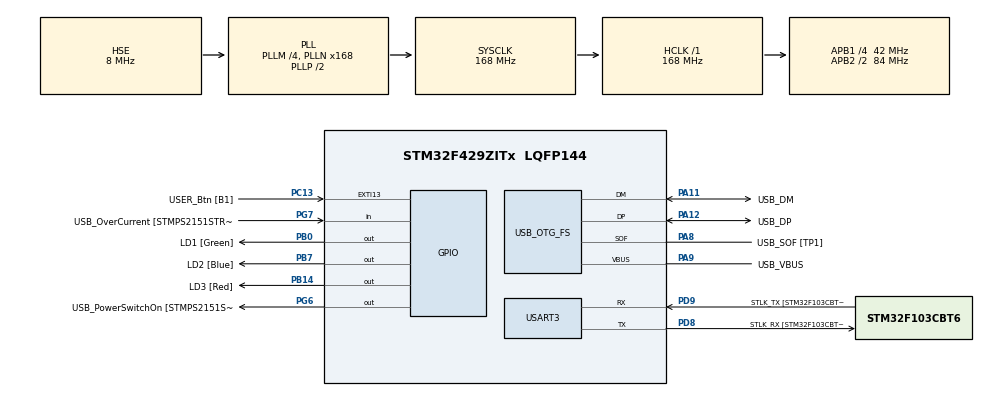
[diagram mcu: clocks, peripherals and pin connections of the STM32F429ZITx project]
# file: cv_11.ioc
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Mcu.Family=STM32F4
Mcu.Name=STM32F429ZITx
Mcu.Package=LQFP144
NVIC.OTG_FS_IRQn=true\:0\:0\:false\:false\:true\:false\:true\:true
NVIC.PriorityGroup=NVIC_PRIORITYGROUP_4
PA1.GPIO_Label=RMII_REF_CLK [LAN8742A-CZ-TR_REFCLK0]
PA1.Signal=ETH_REF_CLK
PA10.GPIO_Label=USB_ID
PA10.Signal=USB_OTG_FS_ID
PA11.GPIO_Label=USB_DM
PA11.Mode=Device_Only
PA11.Signal=USB_OTG_FS_DM
PA12.GPIO_Label=USB_DP
PA12.Mode=Device_Only
PA12.Signal=USB_OTG_FS_DP
PA13.GPIO_Label=TMS
PA13.Mode=Serial_Wire
PA13.Signal=SYS_JTMS-SWDIO
PA14.GPIO_Label=TCK
PA14.Mode=Serial_Wire
PA14.Signal=SYS_JTCK-SWCLK
PA2.GPIO_Label=RMII_MDIO [LAN8742A-CZ-TR_MDIO]
PA2.Signal=ETH_MDIO
PA7.GPIO_Label=RMII_CRS_DV [LAN8742A-CZ-TR_CRS_DV]
PA7.Signal=ETH_CRS_DV
PA8.GPIO_Label=USB_SOF [TP1]
PA8.Mode=Activate_SOF_FS
PA8.Signal=USB_OTG_FS_SOF
PA9.GPIO_Label=USB_VBUS
PA9.Mode=Activate_VBUS
PA9.Signal=USB_OTG_FS_VBUS
PB0.GPIO_Label=LD1 [Green]
PB0.Signal=GPIO_Output
PB13.GPIO_Label=RMII_TXD1 [LAN8742A-CZ-TR_TXD1]
PB13.Signal=ETH_TXD1
PB14.GPIO_Label=LD3 [Red]
PB14.Signal=GPIO_Output
PB7.GPIO_Label=LD2 [Blue]
PB7.Signal=GPIO_Output
PC1.GPIO_Label=RMII_MDC [LAN8742A-CZ-TR_MDC]
PC1.Signal=ETH_MDC
PC13.GPIO_Label=USER_Btn [B1]
PC13.Signal=GPXTI13
PC14/OSC32_IN.Mode=LSE-External-Oscillator
PC14/OSC32_IN.Signal=RCC_OSC32_IN
PC15/OSC32_OUT.Mode=LSE-External-Oscillator
PC15/OSC32_OUT.Signal=RCC_OSC32_OUT
PC4.GPIO_Label=RMII_RXD0 [LAN8742A-CZ-TR_RXD0]
PC4.Signal=ETH_RXD0
PC5.GPIO_Label=RMII_RXD1 [LAN8742A-CZ-TR_RXD1]
PC5.Signal=ETH_RXD1
PD8.GPIO_Label=STLK_RX [STM32F103CBT6_PA3]
PD8.Mode=Asynchronous
PD8.Signal=USART3_TX
PD9.GPIO_Label=STLK_TX [STM32F103CBT6_PA2]
PD9.Mode=Asynchronous
PD9.Signal=USART3_RX
PG11.GPIO_Label=RMII_TX_EN [LAN8742A-CZ-TR_TXEN]
PG11.Signal=ETH_TX_EN
PG13.GPIO_Label=RMII_TXD0 [LAN8742A-CZ-TR_TXD0]
PG13.Signal=ETH_TXD0
PG6.GPIO_Label=USB_PowerSwitchOn [STMPS2151STR_EN]
PG6.Signal=GPIO_Output
PG7.GPIO_Label=USB_OverCurrent [STMPS2151STR_FAULT]
PG7.Signal=GPIO_Input
PH0/OSC_IN.GPIO_Label=MCO [STM32F103CBT6_PA8]
PH0/OSC_IN.Mode=HSE-External-Clock-Source
PH0/OSC_IN.Signal=RCC_OSC_IN
PH1/OSC_OUT.Mode=HSE-External-Clock-Source
PH1/OSC_OUT.Signal=RCC_OSC_OUT
ProjectManager.HeapSize=0x200
ProjectManager.StackSize=0x400
ProjectManager.TargetToolchain=STM32CubeIDE
RCC.48MHZClocksFreq_Value=48000000
RCC.AHBFreq_Value=168000000
RCC.APB1CLKDivider=RCC_HCLK_DIV4
RCC.APB1Freq_Value=42000000
RCC.APB1TimFreq_Value=84000000
RCC.APB2CLKDivider=RCC_HCLK_DIV2
RCC.APB2Freq_Value=84000000
RCC.APB2TimCLKDivider=2
RCC.APB2TimFreq_Value=168000000
RCC.CortexFreq_Value=168000000
RCC.HCLKFreq_Value=168000000
RCC.HSE_VALUE=8000000
RCC.HSI_VALUE=16000000
RCC.PLLM=4
RCC.PLLMUL=RCC_PLL_MUL9
RCC.PLLN=168
RCC.PLLQ=7
RCC.PRESCALERUSB=RCC_USBCLKSOURCE_PLL_DIV1_5
RCC.SYSCLKFreq_VALUE=168000000
RCC.SYSCLKSource=RCC_SYSCLKSOURCE_PLLCLK
RCC.SYSCLKSourceVirtual=RCC_SYSCLKSOURCE_PLLCLK
RCC.USBFreq_Value=48000000
RCC.VCOOutputFreq_Value=336000000
USART3.VirtualMode=VM_ASYNC
USB_DEVICE.CLASS_NAME_FS=HID
USB_DEVICE.VirtualMode-HID_FS=Hid
USB_DEVICE.VirtualModeFS=Hid_FS
USB_OTG_FS.VirtualMode=Device_Only
VP_USB_DEVICE_VS_USB_DEVICE_HID_FS.Mode=HID_FS
board=NUCLEO-F429ZI

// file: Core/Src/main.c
/* USER CODE BEGIN Header */
/**
  ******************************************************************************
  * @file           : main.c
  * @brief          : Main program body
  ******************************************************************************
  * @attention
  *
  * Copyright (c) 2022 STMicroelectronics.
  * All rights reserved.
  *
  * This software is licensed under terms that can be found in the LICENSE file
  * in the root directory of this software component.
  * If no LICENSE file comes with this software, it is provided AS-IS.
  *
  ******************************************************************************
  */
/* USER CODE END Header */
#include "main.h"
#include "usb_device.h"

/* USER CODE BEGIN Includes */

#include "usbd_hid.h"
#include <math.h>

/* USER CODE END Includes */

/* USER CODE BEGIN PD */

#define pi 3.14159265358
#define move_cursor_steps 10

/* USER CODE END PD */

UART_HandleTypeDef huart3;

/* USER CODE BEGIN PV */

extern USBD_HandleTypeDef hUsbDeviceFS;

/* USER CODE END PV */

void SystemClock_Config(void);
static void MX_GPIO_Init(void);
static void MX_USART3_UART_Init(void);
/* USER CODE BEGIN PFP */

void moveCursor(uint8_t left_button_pressed, int8_t x_pos, int8_t y_pos, int8_t scroll)
{
	uint8_t buff[4];
	buff[0] = left_button_pressed; // stiskni leve tlacitko
	/*buff[1] = (int8_t)(10); // posun X +10
	buff[2] = (int8_t)(-3); // posun Y -3*/
	buff[1] = x_pos; // posun X +10
	buff[2] = y_pos; // posun Y -3
	buff[3] = scroll; // bez scrollu
	USBD_HID_SendReport(&hUsbDeviceFS, buff, sizeof(buff));
	HAL_Delay(USBD_HID_GetPollingInterval(&hUsbDeviceFS));
}

void drawCircle(uint8_t radius, uint8_t num_steps, uint8_t mouth)
{
	static float xp = 0;
	static float yp = 0;
	static float x = 0;
	static float y = 0;
	static float phi_step = 0;
	static uint16_t counter = 0;

	if(mouth) counter = num_steps/2;
	else counter = num_steps;
	for(uint16_t i = 1; i < counter + 2; i++)
	{
		phi_step = 2 * pi * (i - 1) / num_steps;
		x = radius * cos(phi_step);
		y = radius * sin(phi_step);
		moveCursor(1, x - xp, y - yp, 0);
		yp = y;
		xp = x;
		HAL_Delay(10);
	}
	xp = 0;
	yp = 0;
	moveCursor(0, 0, 0, 0);
}

void drawSmile(uint8_t radius, uint8_t num_steps)
{
	drawCircle(radius, num_steps, 0);

	moveCursor(0, -radius, -3*radius/5, 0);
	HAL_Delay(100);
	moveCursor(0, -radius/3, 0, 0);
	HAL_Delay(100);
	drawCircle(radius/10, 20, 0);

	moveCursor(0, radius/2, 0, 0);
	HAL_Delay(100);
	drawCircle(radius/10, 20, 0);

	moveCursor(1, -radius/4 - radius/20, 0, 0);
	HAL_Delay(100);
	moveCursor(0, 0, radius/3 , 0);
	HAL_Delay(100);

	moveCursor(0, radius/3, radius/5, 0);
	HAL_Delay(100);
	drawCircle(radius/2, num_steps, 1);
}

/* USER CODE END PFP */

int main(void)
{

  /* MCU Configuration--------------------------------------------------------*/

  /* Reset of all peripherals, Initializes the Flash interface and the Systick. */
  HAL_Init();

  /* Configure the system clock */
  SystemClock_Config();

  /* Initialize all configured peripherals */
  MX_GPIO_Init();
  MX_USART3_UART_Init();
  MX_USB_DEVICE_Init();

  /* Infinite loop */
  /* USER CODE BEGIN WHILE */
  while (1)
  {

	  if(HAL_GPIO_ReadPin(USER_Btn_GPIO_Port, USER_Btn_Pin))
	  {
		  drawSmile(100, 36);
	  }

	/* USER CODE END WHILE */

  }
}

void SystemClock_Config(void)
{
  RCC_OscInitTypeDef RCC_OscInitStruct = {0};
  RCC_ClkInitTypeDef RCC_ClkInitStruct = {0};

  /** Configure the main internal regulator output voltage
  */
  __HAL_RCC_PWR_CLK_ENABLE();
  __HAL_PWR_VOLTAGESCALING_CONFIG(PWR_REGULATOR_VOLTAGE_SCALE1);

  /** Initializes the RCC Oscillators according to the specified parameters
  * in the RCC_OscInitTypeDef structure.
  */
  RCC_OscInitStruct.OscillatorType = RCC_OSCILLATORTYPE_HSE;
  RCC_OscInitStruct.HSEState = RCC_HSE_BYPASS;
  RCC_OscInitStruct.PLL.PLLState = RCC_PLL_ON;
  RCC_OscInitStruct.PLL.PLLSource = RCC_PLLSOURCE_HSE;
  RCC_OscInitStruct.PLL.PLLM = 4;
  RCC_OscInitStruct.PLL.PLLN = 168;
  RCC_OscInitStruct.PLL.PLLP = RCC_PLLP_DIV2;
  RCC_OscInitStruct.PLL.PLLQ = 7;
  if (HAL_RCC_OscConfig(&RCC_OscInitStruct) != HAL_OK)
  {
    Error_Handler();
  }

  /** Initializes the CPU, AHB and APB buses clocks
  */
  RCC_ClkInitStruct.ClockType = RCC_CLOCKTYPE_HCLK|RCC_CLOCKTYPE_SYSCLK
                              |RCC_CLOCKTYPE_PCLK1|RCC_CLOCKTYPE_PCLK2;
  RCC_ClkInitStruct.SYSCLKSource = RCC_SYSCLKSOURCE_PLLCLK;
  RCC_ClkInitStruct.AHBCLKDivider = RCC_SYSCLK_DIV1;
  RCC_ClkInitStruct.APB1CLKDivider = RCC_HCLK_DIV4;
  RCC_ClkInitStruct.APB2CLKDivider = RCC_HCLK_DIV2;

  if (HAL_RCC_ClockConfig(&RCC_ClkInitStruct, FLASH_LATENCY_5) != HAL_OK)
  {
    Error_Handler();
  }
}

static void MX_USART3_UART_Init(void)
{

  huart3.Instance = USART3;
  huart3.Init.BaudRate = 115200;
  huart3.Init.WordLength = UART_WORDLENGTH_8B;
  huart3.Init.StopBits = UART_STOPBITS_1;
  huart3.Init.Parity = UART_PARITY_NONE;
  huart3.Init.Mode = UART_MODE_TX_RX;
  huart3.Init.HwFlowCtl = UART_HWCONTROL_NONE;
  huart3.Init.OverSampling = UART_OVERSAMPLING_16;
  if (HAL_UART_Init(&huart3) != HAL_OK)
  {
    Error_Handler();
  }

}

static void MX_GPIO_Init(void)
{
  GPIO_InitTypeDef GPIO_InitStruct = {0};

  /* GPIO Ports Clock Enable */
  __HAL_RCC_GPIOC_CLK_ENABLE();
  __HAL_RCC_GPIOH_CLK_ENABLE();
  __HAL_RCC_GPIOA_CLK_ENABLE();
  __HAL_RCC_GPIOB_CLK_ENABLE();
  __HAL_RCC_GPIOD_CLK_ENABLE();
  __HAL_RCC_GPIOG_CLK_ENABLE();

  /*Configure GPIO pin Output Level */
  HAL_GPIO_WritePin(GPIOB, LD1_Pin|LD3_Pin|LD2_Pin, GPIO_PIN_RESET);

  /*Configure GPIO pin Output Level */
  HAL_GPIO_WritePin(USB_PowerSwitchOn_GPIO_Port, USB_PowerSwitchOn_Pin, GPIO_PIN_RESET);

  /*Configure GPIO pin : USER_Btn_Pin */
  GPIO_InitStruct.Pin = USER_Btn_Pin;
  GPIO_InitStruct.Mode = GPIO_MODE_IT_RISING;
  GPIO_InitStruct.Pull = GPIO_NOPULL;
  HAL_GPIO_Init(USER_Btn_GPIO_Port, &GPIO_InitStruct);

  /*Configure GPIO pins : RMII_MDC_Pin RMII_RXD0_Pin RMII_RXD1_Pin */
  GPIO_InitStruct.Pin = RMII_MDC_Pin|RMII_RXD0_Pin|RMII_RXD1_Pin;
  GPIO_InitStruct.Mode = GPIO_MODE_AF_PP;
  GPIO_InitStruct.Pull = GPIO_NOPULL;
  GPIO_InitStruct.Speed = GPIO_SPEED_FREQ_VERY_HIGH;
  GPIO_InitStruct.Alternate = GPIO_AF11_ETH;
  HAL_GPIO_Init(GPIOC, &GPIO_InitStruct);

  /*Configure GPIO pins : RMII_REF_CLK_Pin RMII_MDIO_Pin RMII_CRS_DV_Pin */
  GPIO_InitStruct.Pin = RMII_REF_CLK_Pin|RMII_MDIO_Pin|RMII_CRS_DV_Pin;
  GPIO_InitStruct.Mode = GPIO_MODE_AF_PP;
  GPIO_InitStruct.Pull = GPIO_NOPULL;
  GPIO_InitStruct.Speed = GPIO_SPEED_FREQ_VERY_HIGH;
  GPIO_InitStruct.Alternate = GPIO_AF11_ETH;
  HAL_GPIO_Init(GPIOA, &GPIO_InitStruct);

  /*Configure GPIO pins : LD1_Pin LD3_Pin LD2_Pin */
  GPIO_InitStruct.Pin = LD1_Pin|LD3_Pin|LD2_Pin;
  GPIO_InitStruct.Mode = GPIO_MODE_OUTPUT_PP;
  GPIO_InitStruct.Pull = GPIO_NOPULL;
  GPIO_InitStruct.Speed = GPIO_SPEED_FREQ_LOW;
  HAL_GPIO_Init(GPIOB, &GPIO_InitStruct);

  /*Configure GPIO pin : RMII_TXD1_Pin */
  GPIO_InitStruct.Pin = RMII_TXD1_Pin;
  GPIO_InitStruct.Mode = GPIO_MODE_AF_PP;
  GPIO_InitStruct.Pull = GPIO_NOPULL;
  GPIO_InitStruct.Speed = GPIO_SPEED_FREQ_VERY_HIGH;
  GPIO_InitStruct.Alternate = GPIO_AF11_ETH;
  HAL_GPIO_Init(RMII_TXD1_GPIO_Port, &GPIO_InitStruct);

  /*Configure GPIO pin : USB_PowerSwitchOn_Pin */
  GPIO_InitStruct.Pin = USB_PowerSwitchOn_Pin;
  GPIO_InitStruct.Mode = GPIO_MODE_OUTPUT_PP;
  GPIO_InitStruct.Pull = GPIO_NOPULL;
  GPIO_InitStruct.Speed = GPIO_SPEED_FREQ_LOW;
  HAL_GPIO_Init(USB_PowerSwitchOn_GPIO_Port, &GPIO_InitStruct);

  /*Configure GPIO pin : USB_OverCurrent_Pin */
  GPIO_InitStruct.Pin = USB_OverCurrent_Pin;
  GPIO_InitStruct.Mode = GPIO_MODE_INPUT;
  GPIO_InitStruct.Pull = GPIO_NOPULL;
  HAL_GPIO_Init(USB_OverCurrent_GPIO_Port, &GPIO_InitStruct);

  /*Configure GPIO pins : RMII_TX_EN_Pin RMII_TXD0_Pin */
  GPIO_InitStruct.Pin = RMII_TX_EN_Pin|RMII_TXD0_Pin;
  GPIO_InitStruct.Mode = GPIO_MODE_AF_PP;
  GPIO_InitStruct.Pull = GPIO_NOPULL;
  GPIO_InitStruct.Speed = GPIO_SPEED_FREQ_VERY_HIGH;
  GPIO_InitStruct.Alternate = GPIO_AF11_ETH;
  HAL_GPIO_Init(GPIOG, &GPIO_InitStruct);

}

void Error_Handler(void)
{
  __disable_irq();
  while (1)
  {
  }
}
